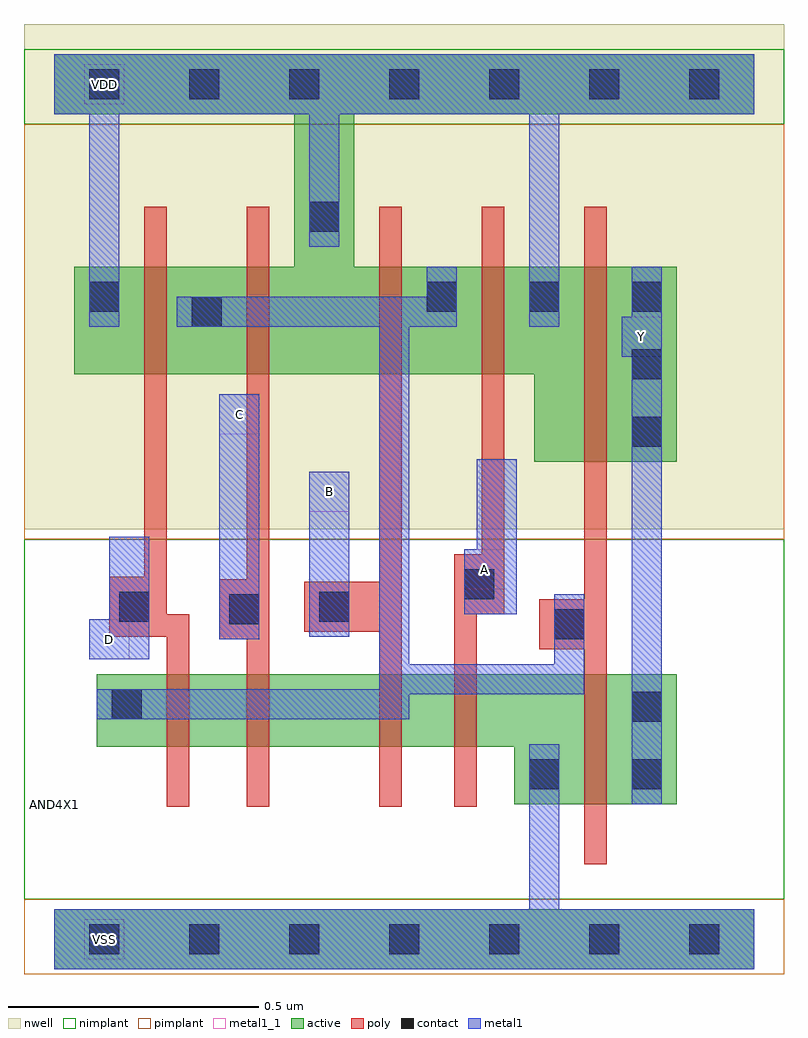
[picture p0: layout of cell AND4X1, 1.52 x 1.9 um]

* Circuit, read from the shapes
.subckt AND4X1 A B C D VDD VSS Y
M1 n1 D n2 VSS nfet w=0.145u l=0.045u
M2 n3 C n1 VSS nfet w=0.145u l=0.045u
M3 n4 B n3 VSS nfet w=0.145u l=0.045u
M4 VSS A n4 VSS nfet w=0.145u l=0.045u
M5 Y n2 VSS VSS nfet w=0.26u l=0.045u
M6 n2 D VDD VDD pfet w=0.215u l=0.045u
M7 VDD C n2 VDD pfet w=0.215u l=0.045u
M8 n2 B VDD VDD pfet w=0.215u l=0.045u
M9 VDD A n2 VDD pfet w=0.215u l=0.045u
M10 Y n2 VDD VDD pfet w=0.39u l=0.045u
.ends

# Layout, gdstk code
import gdstk
lib = gdstk.Library(unit=1e-6, precision=5e-10)
def R(c, l, rs):  # rectangles x0, y0, x1, y1
    for r in rs: c.add(gdstk.rectangle(r[:2], r[2:], *l))
def A(c, l, x, y, w, h, nx, ny, dx, dy):  # array of equal rectangles
    R(c, l, [(x+i*dx, y+j*dy, x+i*dx+w, y+j*dy+h) for i in range(nx) for j in range(ny)])
def P(c, l, *ps):  # polygons
    for p in ps: c.add(gdstk.Polygon(p, *l))
active = (1, 0)
nwell = (2, 0)
poly = (3, 0)
nimplant = (4, 0)
pimplant = (5, 0)
contact = (6, 0)
metal1 = (7, 0)
metal1_1 = (7, 1)

and4x1 = lib.new_cell('AND4X1')
R(and4x1, active, [(0,-0.06,1.4,0.06)])
P(and4x1, active, [(0,1.77),(1.4,1.77),(1.4,1.65),(0.6,1.65),(0.6,1.345),(1.245,1.345),(1.245,0.955),(0.96,0.955),(0.96,1.13),(0.04,1.13),(0.04,1.345),(0.48,1.345),(0.48,1.65),(0,1.65)],
  [(0.085,0.53),(1.245,0.53),(1.245,0.27),(0.92,0.27),(0.92,0.385),(0.085,0.385)])
R(and4x1, nwell, [(-0.06,0.82,1.46,1.83)])
P(and4x1, poly, [(0.18,1.465),(0.225,1.465),(0.225,0.65),(0.27,0.65),(0.27,0.265),(0.225,0.265),(0.225,0.605),(0.11,0.605),(0.11,0.725),(0.18,0.725)],
  [(0.385,1.465),(0.43,1.465),(0.43,0.265),(0.385,0.265),(0.385,0.6),(0.33,0.6),(0.33,0.72),(0.385,0.72)],
  [(0.65,1.465),(0.695,1.465),(0.695,0.265),(0.65,0.265),(0.65,0.615),(0.5,0.615),(0.5,0.715),(0.65,0.715)],
  [(0.855,1.465),(0.9,1.465),(0.9,0.65),(0.845,0.65),(0.845,0.265),(0.8,0.265),(0.8,0.77),(0.855,0.77)],
  [(1.06,1.465),(1.105,1.465),(1.105,0.15),(1.06,0.15),(1.06,0.58),(0.97,0.58),(0.97,0.68),(1.06,0.68)])
R(and4x1, nimplant, [(-0.06,0.08,1.46,0.8), (-0.06,1.63,1.46,1.78)])
R(and4x1, pimplant, [(-0.06,-0.07,1.46,0.08), (-0.06,0.8,1.46,1.63)])
A(and4x1, contact, 0.07, -0.03, 0.06, 0.06, 7, 2, 0.2, 1.71)
A(and4x1, contact, 0.745, 1.255, 0.06, 0.06, 3, 1, 0.205, 0)
R(and4x1, contact, [(0.95,0.3,1.01,0.36), (1.155,0.3,1.215,0.36), (1.155,0.435,1.215,0.495), (0.115,0.44,0.175,0.5), (1,0.6,1.06,0.66), (0.35,0.63,0.41,0.69), (0.13,0.635,0.19,0.695), (0.53,0.635,0.59,0.695), (0.82,0.68,0.88,0.74), (1.155,0.985,1.215,1.045), (1.155,1.12,1.215,1.18), (0.275,1.225,0.335,1.285), (0.07,1.255,0.13,1.315), (0.51,1.415,0.57,1.475)])
R(and4x1, metal1, [(0.33,0.6,0.41,1.09), (0.51,0.605,0.59,0.935)])
P(and4x1, metal1, [(0,1.77),(1.4,1.77),(1.4,1.65),(1.01,1.65),(1.01,1.225),(0.95,1.225),(0.95,1.65),(0.57,1.65),(0.57,1.385),(0.51,1.385),(0.51,1.65),(0.13,1.65),(0.13,1.225),(0.07,1.225),(0.07,1.65),(0,1.65)],
  [(1.06,0.69),(1,0.69),(1,0.55),(0.71,0.55),(0.71,1.225),(0.805,1.225),(0.805,1.345),(0.745,1.345),(0.745,1.285),(0.245,1.285),(0.245,1.225),(0.65,1.225),(0.65,0.5),(0.085,0.5),(0.085,0.44),(0.71,0.44),(0.71,0.49),(1.06,0.49)],
  [(0.11,0.805),(0.19,0.805),(0.19,0.56),(0.07,0.56),(0.07,0.64),(0.11,0.64)],
  [(1.155,1.345),(1.215,1.345),(1.215,0.27),(1.155,0.27),(1.155,1.165),(1.135,1.165),(1.135,1.245),(1.155,1.245)],
  [(0.845,0.96),(0.925,0.96),(0.925,0.65),(0.82,0.65),(0.82,0.78),(0.845,0.78)],
  [(0.95,0.39),(1.01,0.39),(1.01,0.06),(1.4,0.06),(1.4,-0.06),(0,-0.06),(0,0.06),(0.95,0.06)])
R(and4x1, metal1_1, [(0.06,-0.04,0.14,0.04), (0.07,0.56,0.15,0.64), (0.82,0.7,0.9,0.78), (0.51,0.855,0.59,0.935), (0.33,1.01,0.41,1.09), (1.135,1.165,1.215,1.245), (0.06,1.67,0.14,1.75)])
and4x1.add(gdstk.Label('VSS', (0.1,0), layer=7, texttype=1))
and4x1.add(gdstk.Label('A', (0.86,0.74), layer=7, texttype=1))
and4x1.add(gdstk.Label('Y', (1.175,1.205), layer=7, texttype=1))
and4x1.add(gdstk.Label('B', (0.55,0.895), layer=7, texttype=1))
and4x1.add(gdstk.Label('C', (0.37,1.05), layer=7, texttype=1))
and4x1.add(gdstk.Label('D', (0.11,0.6), layer=7, texttype=1))
and4x1.add(gdstk.Label('VDD', (0.1,1.71), layer=7, texttype=1))
and4x1.add(gdstk.Label('AND4X1', (0,0.27), layer=63, texttype=0))

lib.write_gds('AND4X1.gds')
